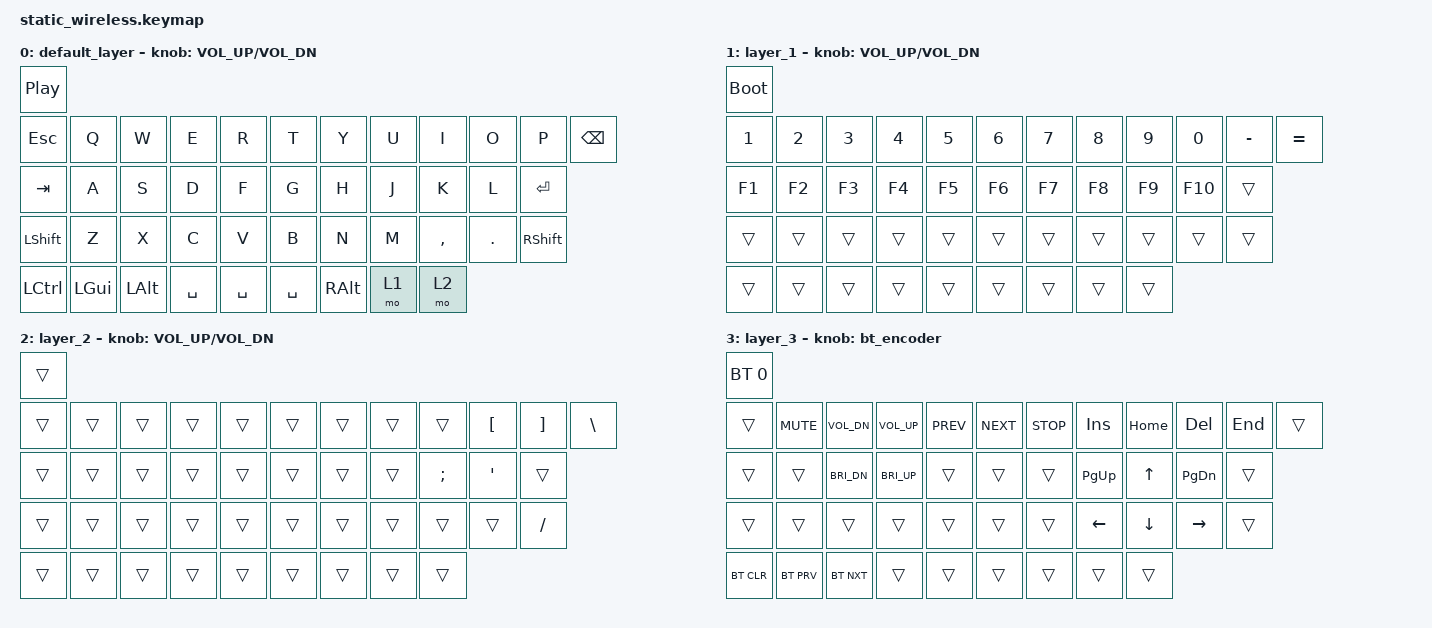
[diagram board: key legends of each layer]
#include <behaviors.dtsi>
#include <dt-bindings/zmk/bt.h>
#include <dt-bindings/zmk/keys.h>

/ {
    behavior {
        bt_encoder: bt_encoder {
            compatible = "zmk,behavior-sensor-rotate";
            label = "BT_ENCODER";
            #sensor-binding-cells = <0>;
            bindings = <&bt BT_NXT>, <&bt BT_PRV>;
        };
    };


    // Activate layer 3 by pressing layers 1 and 2
    conditional_layers {
        compatible = "zmk,conditional-layers";
        layer_3 {
            if-layers = <1 2>;
            then-layer = <3>;
        };
    };


    keymap {
        compatible = "zmk,keymap";

        default_layer {
            bindings = <
     &kp C_PLAY_PAUSE
     &kp ESC     &kp Q       &kp W         &kp E         &kp R       &kp T       &kp Y       &kp U      &kp I      &kp O      &kp P      &kp BSPC
     &kp TAB     &kp A       &kp S         &kp D         &kp F       &kp G       &kp H       &kp J      &kp K      &kp L      &kp RET
     &kp LSHFT   &kp Z       &kp X         &kp C         &kp V       &kp B       &kp N       &kp M      &kp COMMA  &kp DOT    &kp RSHFT
     &kp LCTRL   &kp LGUI    &kp LALT      &kp SPACE     &kp SPACE   &kp SPACE   &kp RALT    &mo 1      &mo 2
            >;

            sensor-bindings = <&inc_dec_kp C_VOL_UP C_VOL_DN>;
        };

        layer_1 {
            bindings = <
     &bootloader
     &kp N1      &kp N2      &kp N3        &kp N4        &kp N5      &kp N6      &kp N7      &kp N8     &kp N9     &kp N0     &kp MINUS  &kp EQUAL
     &kp F1      &kp F2      &kp F3        &kp F4        &kp F5      &kp F6      &kp F7      &kp F8     &kp F9     &kp F10    &trans
     &trans      &trans      &trans        &trans        &trans      &trans      &trans      &trans     &trans     &trans     &trans
     &trans      &trans      &trans        &trans        &trans      &trans      &trans      &trans     &trans
            >;

            sensor-bindings = <&inc_dec_kp C_VOL_UP C_VOL_DN>;
        };

        layer_2 {
            bindings = <
     &trans
     &trans      &trans      &trans        &trans        &trans      &trans      &trans      &trans     &trans     &kp LBKT   &kp RBKT   &kp BSLH
     &trans      &trans      &trans        &trans        &trans      &trans      &trans      &trans     &kp SEMI   &kp SQT    &trans
     &trans      &trans      &trans        &trans        &trans      &trans      &trans      &trans     &trans     &trans     &kp FSLH
     &trans      &trans      &trans        &trans        &trans      &trans      &trans      &trans     &trans
            >;

            sensor-bindings = <&inc_dec_kp C_VOL_UP C_VOL_DN>;
        };

        layer_3 {
            bindings = <
     &bt BT_SEL 0
     &trans      &kp C_MUTE  &kp C_VOL_DN  &kp C_VOL_UP  &kp C_PREV  &kp C_NEXT  &kp C_STOP  &kp INS    &kp HOME   &kp DEL    &kp END    &trans
     &trans      &trans      &kp C_BRI_DN  &kp C_BRI_UP  &trans      &trans      &trans      &kp PG_UP  &kp UP     &kp PG_DN  &trans
     &trans      &trans      &trans        &trans        &trans      &trans      &trans      &kp LEFT   &kp DOWN   &kp RIGHT  &trans
     &bt BT_CLR  &bt BT_PRV  &bt BT_NXT    &trans        &trans      &trans      &trans      &trans     &trans
            >;

            sensor-bindings = <&bt_encoder>;
        };
    };
};
